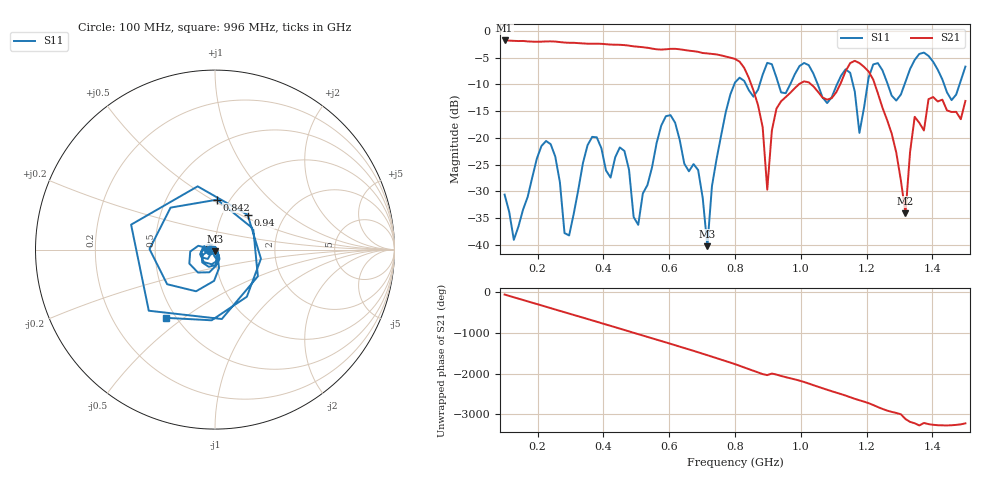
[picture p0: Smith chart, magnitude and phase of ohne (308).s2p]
! NanoVNA-App
! Date: 2025-09-25 14:23:11
! Start: 100MHz Stop: 1,5GHz Points: 101
! S-Parameter data: F S11 S21 S12 S22
# Hz S RI R 50
!  Frequency  S11_Real  S11_Imag  S21_Real  S21_Imag  S12_Real  S12_Imag  S22_Real  S22_Imag
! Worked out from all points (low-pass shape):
!   101 points, 100 MHz to 1.5 GHz, reference 50 ohm
!   highest |S21| = -1.79 dB at 100 MHz (marker M1); lowest = -34.1 dB at 1.318 GHz (marker M2)
!   |S21| within 3 dB of the highest: start of sweep to 771.1 MHz
!   lowest |S11| = -40.3 dB at 716 MHz (marker M3), VSWR 1.02, Z = 49.8 - j0.945 ohm
!   |S11| at or under -10 dB: start of sweep to 797.8 MHz; 833.2 MHz to 875 MHz (41.88 MHz wide, 4.9 % of centre); 1.051 GHz to 1.11 GHz (58.63 MHz wide, 5.42 % of centre) (the widest 3 of 7)
!   S12 and S22 are empty: the file has one direction only
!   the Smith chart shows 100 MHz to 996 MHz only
!   S11 on the Smith chart (normalised r, x): 100 MHz: 0.94, -0.01; 842 MHz: 0.88, +0.53; 940 MHz: 1.32, +0.55; 996 MHz: 0.44, -0.43
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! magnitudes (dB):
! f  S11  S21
! 100 MHz  -30.6  -1.8
! 128 MHz  -39.1  -1.9
! 226 MHz  -20.6  -2.0
! 296 MHz  -38.3  -2.2
! 338 MHz  -24.7  -2.3
! 464 MHz  -22.5  -2.7
! 506 MHz  -36.3  -3.0
! 576 MHz  -17.7  -3.5
! 688 MHz  -26.0  -3.9
! 716 MHz  -40.3  -4.2
! 800 MHz  -9.7  -5.3
! 842 MHz  -11.1  -8.8
! 898 MHz  -6.0  -29.7
! 940 MHz  -11.5  -13.2
! 996 MHz  -6.6  -9.9
! 1.038 GHz  -8.0  -10.4
! 1.178 GHz  -19.1  -6.0
! 1.22 GHz  -6.3  -9.1
! 1.276 GHz  -12.1  -19.2
! 1.318 GHz  -9.5  -34.1
! 1.346 GHz  -5.4  -16.1
! 1.5 GHz  -6.7  -13.1
